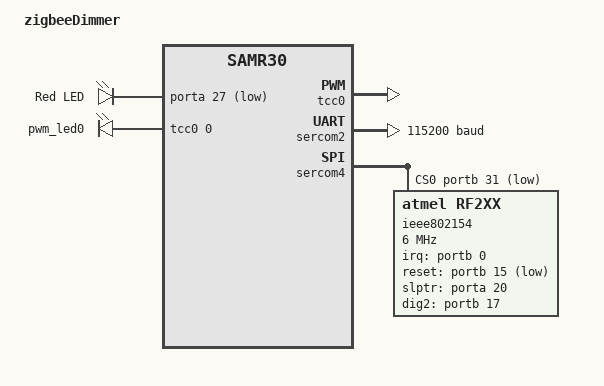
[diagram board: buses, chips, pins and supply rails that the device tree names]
/*
 * Copyright (c) 2021 Argentum Systems Ltd.
 *
 * SPDX-License-Identifier: Apache-2.0
 */

/dts-v1/;
#include <atmel/samr30.dtsi>
#include "zigbeeDimmer-pinctrl.dtsi"
#include <zephyr/dt-bindings/input/input-event-codes.h>

/ {
	model = "zigbeeDimmer";
	compatible = "luuk,zigbeeDimmer", "atmel,samr30e18", "atmel,samr30";

	chosen {
		zephyr,console = &sercom2;
		zephyr,shell-uart = &sercom2;
		zephyr,sram = &sram0;
		zephyr,flash = &flash0;
	};

	aliases {
		led0 = &led0;
		pwm-led0 = &pwm_led0;
	};

	leds {
		compatible = "gpio-leds";
		led0: led_0 {
			gpios = <&porta 27 GPIO_ACTIVE_LOW>;
			label = "Red LED";
		};
	};

	pwmleds {
		compatible = "pwm-leds";
		pwm_led0: pwm_led_0 {
			pwms = <&tcc0 0 PWM_MSEC(20)>;
		};
	};
};


&cpu0 {
	clock-frequency = <48000000>;
};

&tcc0 {
	status = "okay";
	compatible = "atmel,sam0-tcc-pwm";
	/* Gives a maximum period of 1.4s */
	prescaler = <4>;
	#pwm-cells = <2>;

	pinctrl-0 = <&tcc0_default>;
	pinctrl-names = "default";
};

&sercom2 {
	status = "okay";
	compatible = "atmel,sam0-uart";
	current-speed = <115200>;
	rxpo = <0>;
	txpo = <1>;

	pinctrl-0 = <&sercom2_default>;
	pinctrl-names = "default";
};

&sercom4 {
	status = "okay";
	compatible = "atmel,sam0-spi";
	/*
	 *	CS-PB31; MOSI-PB30; MISO-PC19; SCLK-PC18
	 *	PAD[1]; PAD[2]; PAD[0]; PAD[3]
	 */
	dipo = <0>;
	dopo = <1>;
	#address-cells = <1>;
	#size-cells = <0>;

	pinctrl-0 = <&sercom4_spi_default>;
	pinctrl-names = "default";

	cs-gpios = <&portb 31 GPIO_ACTIVE_LOW>;

	ieee802154: rf2xx@0 {
		compatible = "atmel,rf2xx";
		reg = <0x0>;
		spi-max-frequency = <6000000>;		/* pg 1107 8/7.5MHz. 6MHz should be fine */
		irq-gpios = <&portb 0 (GPIO_ACTIVE_HIGH | GPIO_PULL_DOWN)>;
		reset-gpios = <&portb 15 GPIO_ACTIVE_LOW>;
		slptr-gpios = <&porta 20 GPIO_ACTIVE_HIGH>;
		dig2-gpios = <&portb 17 (GPIO_ACTIVE_HIGH | GPIO_PULL_DOWN)>;
		status = "okay";
		tx-pwr-min = [01 19];	/* -25.0 dbm */
		tx-pwr-max = [00 0A];	/*   5.0dbm in normal mode, 10dbm in boost mode */
		tx-pwr-table = [A0 80 E4 E6 E7 E8 E9 EA
						CB CC CC AD 47 48 49 29
						90 91 93 94 2F 30 31 0F
						10 11 12 13 14 15 17 18
						19 1A 1B 1C 1D];
	};
};
